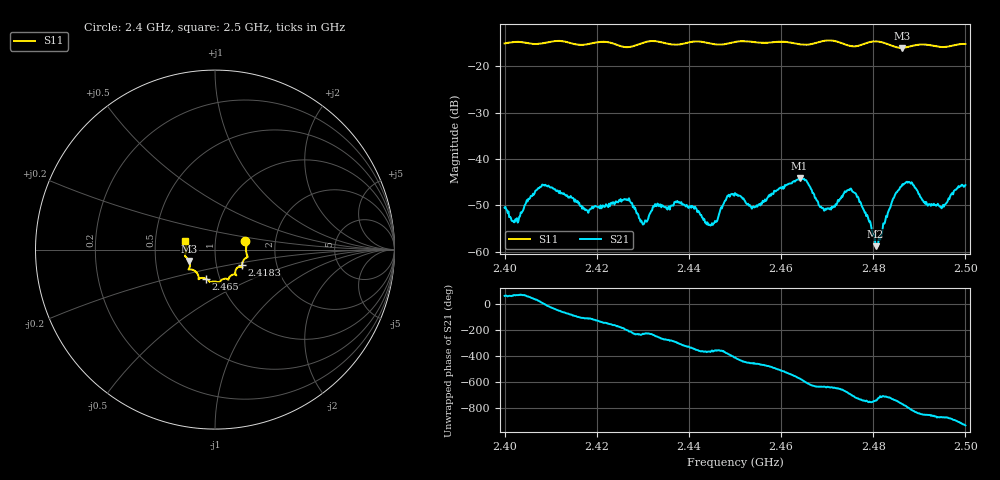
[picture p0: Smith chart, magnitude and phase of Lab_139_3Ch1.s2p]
# Hz S RI R 50
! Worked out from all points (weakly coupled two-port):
!   601 points, 2.4 GHz to 2.5 GHz, reference 50 ohm
!   highest |S21| = -44.20 dB at 2.464 GHz (marker M1); lowest = -58.8 dB at 2.4805 GHz (marker M2)
!   lowest |S11| = -16.1 dB at 2.4862 GHz (marker M3), VSWR 1.37, Z = 37.2 - j4.83 ohm
!   |S11| at or under -10 dB: start of sweep to end of sweep
!   S12 and S22 are empty: the file has one direction only
!   S11 on the Smith chart (normalised r, x): 2.4 GHz: 1.40, +0.14; 2.4183 GHz: 1.33, -0.24; 2.465 GHz: 0.86, -0.28; 2.5 GHz: 0.71, +0.07
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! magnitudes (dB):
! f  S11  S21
! 2.4 GHz  -15.1  -50.5
! 2.4025 GHz  -14.8  -53.3
! 2.4087 GHz  -15.0  -45.7
! 2.4167 GHz  -15.4  -50.1
! 2.4183 GHz  -15.2  -51.0
! 2.4265 GHz  -15.9  -48.8
! 2.4303 GHz  -14.9  -53.8
! 2.4333 GHz  -14.7  -49.8
! 2.4412 GHz  -14.7  -50.7
! 2.4447 GHz  -15.1  -54.3
! 2.45 GHz  -14.8  -47.4
! 2.454 GHz  -14.8  -50.2
! 2.464 GHz  -15.3  -44.2
! 2.465 GHz  -15.4  -44.3
! 2.4667 GHz  -15.2  -46.7
! 2.4698 GHz  -14.5  -50.9
! 2.4755 GHz  -15.7  -47.0
! 2.4805 GHz  -14.7  -58.8
! 2.4833 GHz  -15.3  -51.2
! 2.4862 GHz  -16.1  -45.9
! 2.4948 GHz  -15.9  -50.6
! 2.5 GHz  -15.2  -45.6
